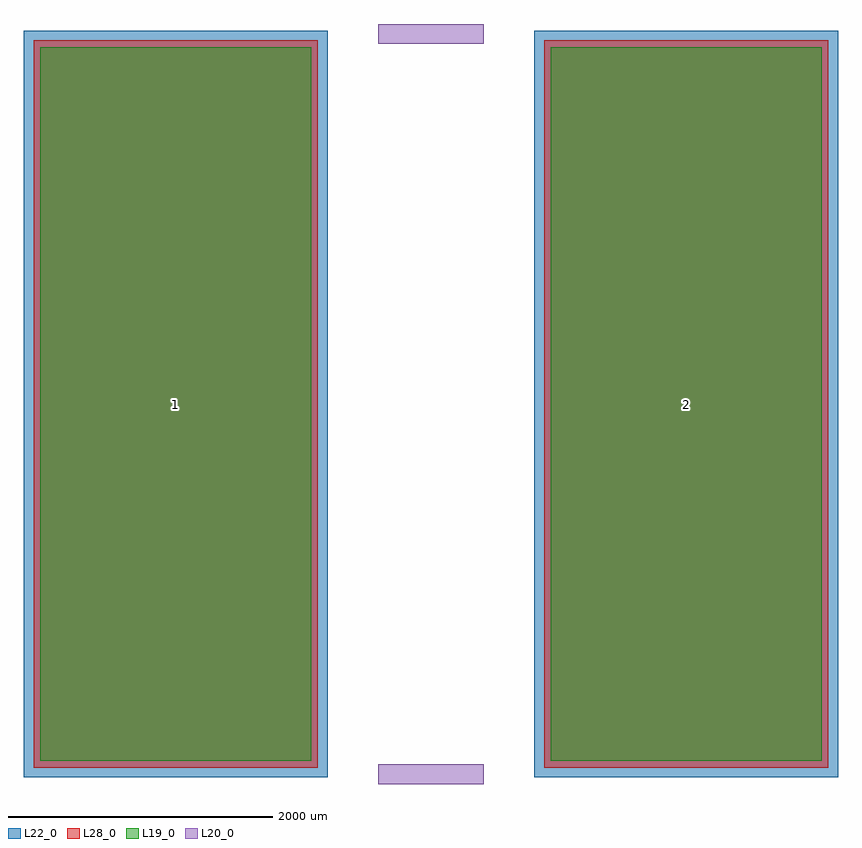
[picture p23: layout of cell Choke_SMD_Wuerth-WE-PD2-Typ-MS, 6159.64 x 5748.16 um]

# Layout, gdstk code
import gdstk
lib = gdstk.Library(unit=1e-6, precision=1e-09)
def R(c, l, rs):  # rectangles x0, y0, x1, y1
    for r in rs: c.add(gdstk.rectangle(r[:2], r[2:], *l))
L19_0 = (19, 0)
L20_0 = (20, 0)
L22_0 = (22, 0)
L28_0 = (28, 0)

choke_smd_wuerth_we_pd2_ = lib.new_cell('Choke_SMD_Wuerth-WE-PD2-Typ-MS')
R(choke_smd_wuerth_we_pd2_, L19_0, [(-2954.82,-2699.55,-905.98,2699.55), (905.98,-2699.55,2954.82,2699.55)])
R(choke_smd_wuerth_we_pd2_, L22_0, [(-3079.82,-2824.55,-780.98,2824.55), (780.98,-2824.55,3079.82,2824.55)])
R(choke_smd_wuerth_we_pd2_, L28_0, [(-3004.82,-2749.55,-855.98,2749.55), (855.98,-2749.55,3004.82,2749.55)])
choke_smd_wuerth_we_pd2_.add(gdstk.FlexPath([(-398.78,2799.08),(398.78,2799.08)], 149.998, ends="flush", simple_path=True, layer=20, datatype=0))  # L20_0
choke_smd_wuerth_we_pd2_.add(gdstk.FlexPath([(-398.78,-2799.08),(398.78,-2799.08)], 149.998, ends="flush", simple_path=True, layer=20, datatype=0))  # L20_0
choke_smd_wuerth_we_pd2_.add(gdstk.Label('2', (1930.4,0), layer=28, texttype=0))
choke_smd_wuerth_we_pd2_.add(gdstk.Label('1', (-1930.4,0), layer=28, texttype=0))
choke_smd_wuerth_we_pd2_.add(gdstk.Label('type', (0,-5080), layer=9, texttype=0))
choke_smd_wuerth_we_pd2_.add(gdstk.Label('devicename', (0,5080), layer=9, texttype=0))

lib.write_gds('Choke_SMD_Wuerth-WE-PD2-Typ-MS.gds')
